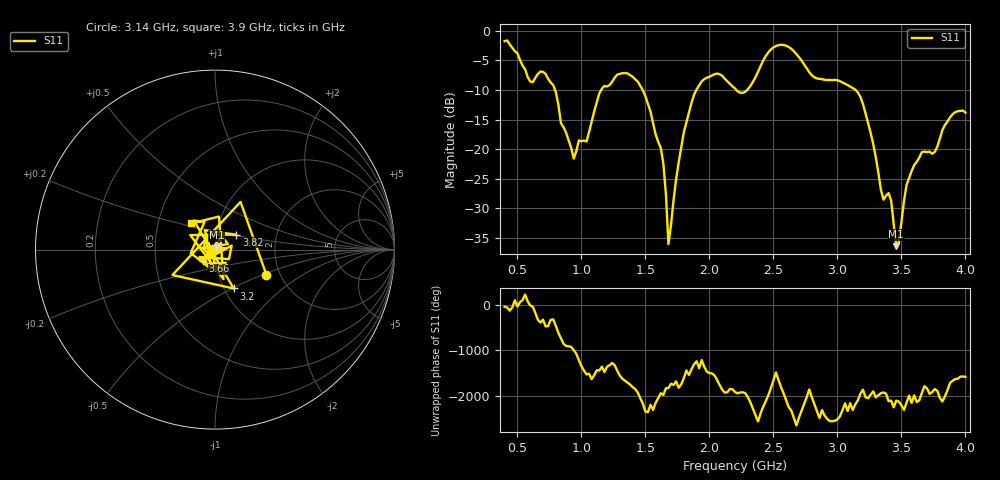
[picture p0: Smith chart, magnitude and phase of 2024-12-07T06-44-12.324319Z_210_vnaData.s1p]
!Created with skrf (http://scikit-rf.org).
# Hz S RI R 50.0
!freq ReS11 ImS11
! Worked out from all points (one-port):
!   181 points, 400 MHz to 4 GHz, reference 50 ohm
!   lowest |S11| = -36.4 dB at 3.46 GHz (marker M1), VSWR 1.03, Z = 50.8 + j1.27 ohm
!   |S11| at or under -10 dB: 794.1 MHz to 1.154 GHz (359.9 MHz wide, 36.9 % of centre); 1.479 GHz to 1.898 GHz (418.6 MHz wide, 24.8 % of centre); 3.143 GHz to end of sweep (the widest 3 of 4)
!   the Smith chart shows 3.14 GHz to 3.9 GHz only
!   S11 on the Smith chart (normalised r, x): 3.14 GHz: 1.70, -0.53; 3.2 GHz: 1.11, -0.51; 3.66 GHz: 0.87, -0.11; 3.82 GHz: 1.25, +0.21; 3.9 GHz: 0.74, +0.22
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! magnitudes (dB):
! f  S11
! 400 MHz  -1.7
! 600 MHz  -8.6
! 720 MHz  -7.3
! 860 MHz  -16.3
! 940 MHz  -21.6
! 1.04 GHz  -18.7
! 1.14 GHz  -10.6
! 1.3 GHz  -7.3
! 1.54 GHz  -13.6
! 1.64 GHz  -22.4
! 1.68 GHz  -36.1
! 1.76 GHz  -22.3
! 1.86 GHz  -12.2
! 1.94 GHz  -8.5
! 2.2 GHz  -9.7
! 2.5 GHz  -2.8
! 2.66 GHz  -3.4
! 3.1 GHz  -9.4
! 3.14 GHz  -9.9
! 3.2 GHz  -12.4
! 3.36 GHz  -28.5
! 3.42 GHz  -28.7
! 3.46 GHz  -36.4
! 3.56 GHz  -24.9
! 3.66 GHz  -20.5
! 3.82 GHz  -16.8
! 3.9 GHz  -14.1
! 4 GHz  -13.8
